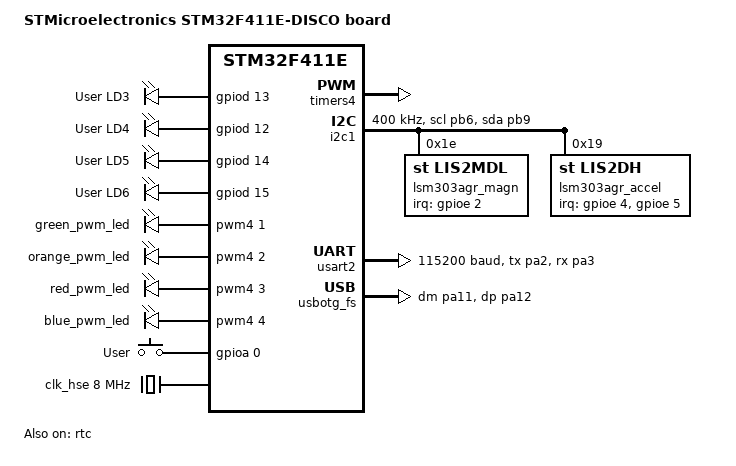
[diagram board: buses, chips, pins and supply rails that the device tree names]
/*
 * Copyright (c) 2017 Fenix Engineering Solutions
 *
 * SPDX-License-Identifier: Apache-2.0
 */

/dts-v1/;
#include <st/f4/stm32f411Xe.dtsi>
#include <st/f4/stm32f411v(c-e)tx-pinctrl.dtsi>
#include <zephyr/dt-bindings/input/input-event-codes.h>

/ {
	model = "STMicroelectronics STM32F411E-DISCO board";
	compatible = "st,stm32f411e-disco";

	chosen {
		zephyr,console = &usart2;
		zephyr,shell-uart = &usart2;
		zephyr,uart-mcumgr = &usart2;
		zephyr,sram = &sram0;
		zephyr,flash = &flash0;
		zephyr,code-partition = &slot0_partition;
	};

	leds {
		compatible = "gpio-leds";
		orange_led_3: led_3 {
			gpios = <&gpiod 13 GPIO_ACTIVE_HIGH>;
			label = "User LD3";
		};
		green_led_4: led_4 {
			gpios = <&gpiod 12 GPIO_ACTIVE_HIGH>;
			label = "User LD4";
		};
		red_led_5: led_5 {
			gpios = <&gpiod 14 GPIO_ACTIVE_HIGH>;
			label = "User LD5";
		};
		blue_led_6: led_6 {
			gpios = <&gpiod 15 GPIO_ACTIVE_HIGH>;
			label = "User LD6";
		};
	};

	pwmleds {
		compatible = "pwm-leds";
		green_pwm_led: green_pwm_led {
			pwms = <&pwm4 1 PWM_MSEC(20) PWM_POLARITY_NORMAL>;
		};
		orange_pwm_led: orange_pwm_led {
			pwms = <&pwm4 2 PWM_MSEC(20) PWM_POLARITY_NORMAL>;
		};
		red_pwm_led: red_pwm_led {
			pwms = <&pwm4 3 PWM_MSEC(20) PWM_POLARITY_NORMAL>;
		};
		blue_pwm_led: blue_pwm_led {
			pwms = <&pwm4 4 PWM_MSEC(20) PWM_POLARITY_NORMAL>;
		};
	};

	gpio_keys {
		compatible = "gpio-keys";
		user_button: button {
			label = "User";
			gpios = <&gpioa 0 GPIO_ACTIVE_HIGH>;
			zephyr,code = <INPUT_KEY_0>;
		};
	};

	aliases {
		led0 = &orange_led_3;
		led1 = &green_led_4;
		led2 = &red_led_5;
		led3 = &blue_led_6;
		sw0 = &user_button;
		pwm-led0 = &green_pwm_led;
		pwm-led1 = &orange_pwm_led;
		pwm-led2 = &red_pwm_led;
		pwm-led3 = &blue_pwm_led;
		magn0 = &lsm303agr_magn;
		accel0 = &lsm303agr_accel;
		mcuboot-button0 = &user_button;
		mcuboot-led0 = &orange_led_3;
	};
};

&clk_lsi {
	status = "okay";
};

&clk_hse {
	clock-frequency = <DT_FREQ_M(8)>;
	status = "okay";
};

&pll {
	div-m = <4>;
	mul-n = <96>;
	div-p = <2>;
	div-q = <4>;
	clocks = <&clk_hse>;
	status = "okay";
};

&rcc {
	clocks = <&pll>;
	clock-frequency = <DT_FREQ_M(96)>;
	ahb-prescaler = <1>;
	apb1-prescaler = <2>;
	apb2-prescaler = <1>;
};

&timers4 {
	st,prescaler = <10000>;
	status = "okay";

	pwm4: pwm {
		status = "okay";
		pinctrl-0 = <&tim4_ch1_pd12
			     &tim4_ch2_pd13
			     &tim4_ch3_pd14
			     &tim4_ch4_pd15>;
		pinctrl-names = "default";
	};
};

&i2c1 {
	pinctrl-0 = <&i2c1_scl_pb6 &i2c1_sda_pb9>;
	pinctrl-names = "default";
	status = "okay";
	clock-frequency = <I2C_BITRATE_FAST>;

	lsm303agr_magn: lsm303agr-magn@1e {
		compatible = "st,lis2mdl", "st,lsm303agr-magn";
		status = "okay";
		reg = <0x1e>;
		irq-gpios = <&gpioe 2 GPIO_ACTIVE_HIGH>;
	};

	lsm303agr_accel: lsm303agr-accel@19 {
		compatible = "st,lis2dh", "st,lsm303agr-accel";
		status = "okay";
		reg = <0x19>;
		irq-gpios = <&gpioe 4 GPIO_ACTIVE_HIGH>,
			  <&gpioe 5 GPIO_ACTIVE_HIGH>;
	};
};

&usart2 {
	pinctrl-0 = <&usart2_tx_pa2 &usart2_rx_pa3>;
	pinctrl-names = "default";
	current-speed = <115200>;
	status = "okay";
};

&rtc {
	clocks = <&rcc STM32_CLOCK_BUS_APB1 0x10000000>,
		 <&rcc STM32_SRC_LSI RTC_SEL(2)>;
	status = "okay";
};

zephyr_udc0: &usbotg_fs {
	pinctrl-0 = <&usb_otg_fs_dm_pa11 &usb_otg_fs_dp_pa12>;
	pinctrl-names = "default";
	status = "okay";
};

&flash0 {
	partitions {
		compatible = "fixed-partitions";
		#address-cells = <1>;
		#size-cells = <1>;

		boot_partition: partition@0 {
			label = "mcuboot";
			reg = <0x00000000 DT_SIZE_K(64)>;
			read-only;
		};

		slot0_partition: partition@20000 {
			label = "image-0";
			reg = <0x00020000 DT_SIZE_K(128)>;
		};

		slot1_partition: partition@40000 {
			label = "image-1";
			reg = <0x00040000 DT_SIZE_K(128)>;
		};

		scratch_partition: partition@60000 {
			label = "image-scratch";
			reg = <0x00060000 DT_SIZE_K(128)>;
		};
	};
};
